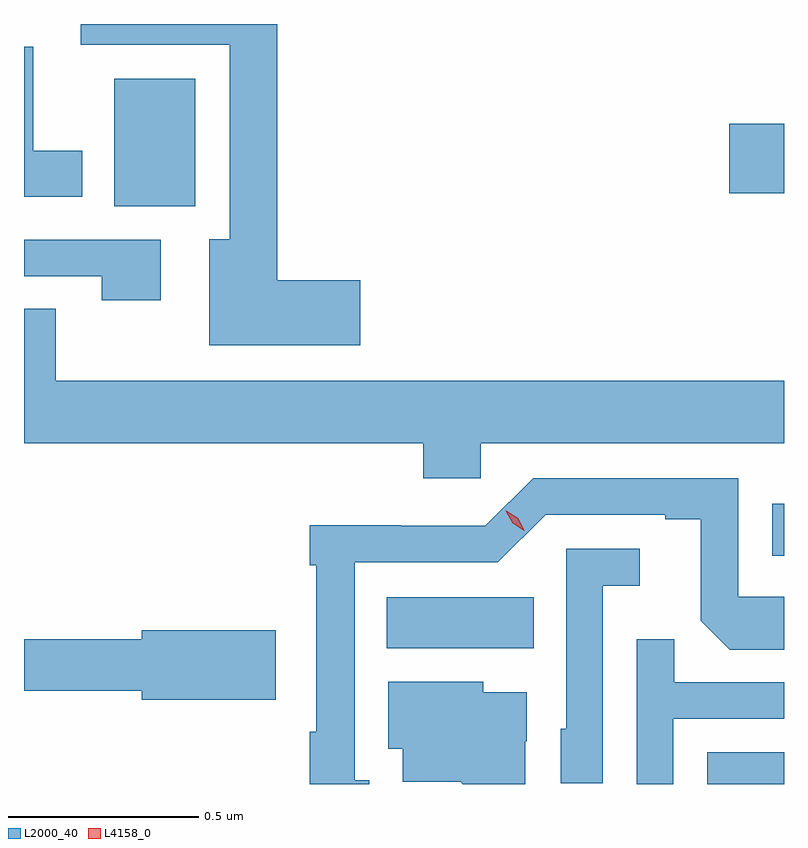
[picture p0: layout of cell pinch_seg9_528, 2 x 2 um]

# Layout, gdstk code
import gdstk
lib = gdstk.Library(unit=1e-6, precision=1e-09)
def R(c, l, rs):  # rectangles x0, y0, x1, y1
    for r in rs: c.add(gdstk.rectangle(r[:2], r[2:], *l))
def P(c, l, *ps):  # polygons
    for p in ps: c.add(gdstk.Polygon(p, *l))
L2000_40 = (2000, 40)
L4158_0 = (4158, 0)

pinch_seg9_528 = lib.new_cell('pinch_seg9_528')
R(pinch_seg9_528, L2000_40, [(276.518,1188.863,276.72,1188.946), (275.675,1189.22,276.062,1189.354), (276.689,1189.464,276.72,1189.6), (274.958,1190.384,275.17,1190.719), (276.576,1190.417,276.72,1190.6)])
P(pinch_seg9_528, L2000_40, [(275.605,1190.189),(275.387,1190.189),(275.387,1190.863),(274.869,1190.863),(274.869,1190.808),(275.261,1190.808),(275.261,1190.296),(275.207,1190.296),(275.207,1190.018),(275.605,1190.018)],
  [(274.873,1190.53),(274.744,1190.53),(274.744,1190.803),(274.72,1190.803),(274.72,1190.408),(274.873,1190.408)],
  [(275.08,1190.295),(274.72,1190.295),(274.72,1190.199),(274.924,1190.199),(274.924,1190.136),(275.08,1190.136)],
  [(275.922,1189.76),(276.72,1189.76),(276.72,1189.924),(274.803,1189.924),(274.803,1190.114),(274.72,1190.114),(274.72,1189.76),(275.771,1189.76),(275.771,1189.667),(275.922,1189.667)],
  [(275.629,1188.873),(275.59,1188.873),(275.59,1189.446),(275.967,1189.446),(276.093,1189.572),(276.407,1189.572),(276.407,1189.56),(276.501,1189.56),(276.501,1189.292),(276.577,1189.216),(276.72,1189.216),(276.72,1189.356),(276.6,1189.356),(276.6,1189.668),(276.06,1189.668),(275.934,1189.542),(275.712,1189.542),(275.712,1189.544),(275.472,1189.544),(275.472,1189.439),(275.489,1189.439),(275.489,1189.001),(275.472,1189.001),(275.472,1188.863),(275.629,1188.863)],
  [(276.243,1189.385),(276.34,1189.385),(276.34,1189.482),(276.147,1189.482),(276.147,1189.008),(276.132,1189.008),(276.132,1188.865),(276.243,1188.865)],
  [(275.383,1189.268),(275.03,1189.268),(275.03,1189.244),(274.72,1189.244),(274.72,1189.108),(275.03,1189.108),(275.03,1189.085),(275.383,1189.085)],
  [(276.429,1189.035),(276.72,1189.035),(276.72,1189.131),(276.431,1189.131),(276.431,1189.244),(276.333,1189.244),(276.333,1188.863),(276.429,1188.863)],
  [(276.039,1188.976),(276.043,1188.976),(276.043,1189.105),(275.928,1189.105),(275.928,1189.132),(275.678,1189.132),(275.678,1188.956),(275.717,1188.956),(275.717,1188.869),(275.869,1188.869),(275.875,1188.863),(276.039,1188.863)])
P(pinch_seg9_528, L4158_0, [(276.037,1189.53),(276.006,1189.549),(275.988,1189.582),(275.988,1189.582),(275.989,1189.582),(276.02,1189.563),(276.037,1189.53),(276.037,1189.53)])

lib.write_gds('pinch_seg9_528.gds')
